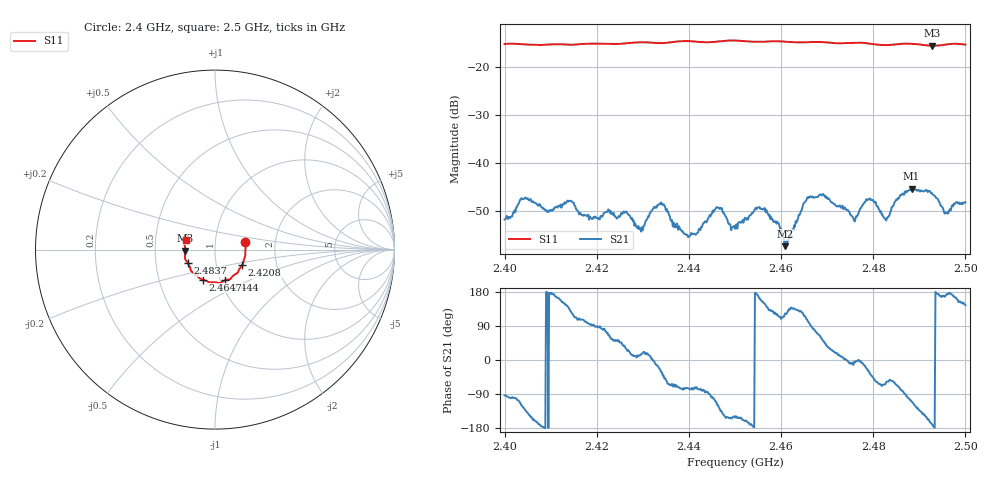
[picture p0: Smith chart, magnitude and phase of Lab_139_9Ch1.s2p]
# Hz S RI R 50
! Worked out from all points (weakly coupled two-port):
!   601 points, 2.4 GHz to 2.5 GHz, reference 50 ohm
!   highest |S21| = -45.30 dB at 2.4883 GHz (marker M1); lowest = -57.3 dB at 2.4608 GHz (marker M2)
!   lowest |S11| = -15.6 dB at 2.4928 GHz (marker M3), VSWR 1.40, Z = 35.8 - j0.371 ohm
!   |S11| at or under -10 dB: start of sweep to end of sweep
!   S12 and S22 are empty: the file has one direction only
!   S11 on the Smith chart (normalised r, x): 2.4 GHz: 1.40, +0.12; 2.4208 GHz: 1.33, -0.24; 2.444 GHz: 1.06, -0.37; 2.4647 GHz: 0.83, -0.29; 2.4837 GHz: 0.73, -0.11; 2.5 GHz: 0.72, +0.08
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2.4e9  0.168 0.041  -0.000145 -0.00259  0 0  0 0
2.404167e9  0.1707 0.0161  -0.00254 -0.0034  0 0  0 0
2.416667e9  0.1589 -0.0681  -0.000833 0.00277  0 0  0 0
2.420833e9  0.1507 -0.0873  0.000265 0.0028  0 0  0 0
2.429667e9  0.1256 -0.1294  0.00187 0.000531  0 0  0 0
2.433333e9  0.1079 -0.1401  0.0035 -0.00109  0 0  0 0
2.439667e9  0.083 -0.1657  0.000496 -0.00172  0 0  0 0
2.444e9  0.0581 -0.1706  0.00028 -0.00254  0 0  0 0
2.446667e9  0.039 -0.1802  -0.00207 -0.00262  0 0  0 0
2.45e9  0.0245 -0.1863  -0.00183 -0.000976  0 0  0 0
2.456e9  -0.0141 -0.1818  -0.00293 0.00151  0 0  0 0
2.460833e9  -0.0398 -0.1786  -0.000742 0.00115  0 0  0 0
2.464667e9  -0.0672 -0.1669  -0.00201 0.00292  0 0  0 0
2.466667e9  -0.08 -0.1626  0.000222 0.00445  0 0  0 0
2.476e9  -0.1275 -0.1239  0.00246 -0.00028  0 0  0 0
2.4795e9  -0.1368 -0.1071  0.00317 -0.00266  0 0  0 0
2.483333e9  -0.1505 -0.0763  0.00153 -0.00233  0 0  0 0
2.483667e9  -0.1523 -0.0734  0.00187 -0.00242  0 0  0 0
2.488333e9  -0.1675 -0.0463  -0.00181 -0.00512  0 0  0 0
2.492833e9  -0.1658 -0.00504  -0.00468 -0.000783  0 0  0 0
2.495833e9  -0.1692 0.0244  -0.00298 0.000473  0 0  0 0
2.5e9  -0.1625 0.0525  -0.0032 0.00227  0 0  0 0
